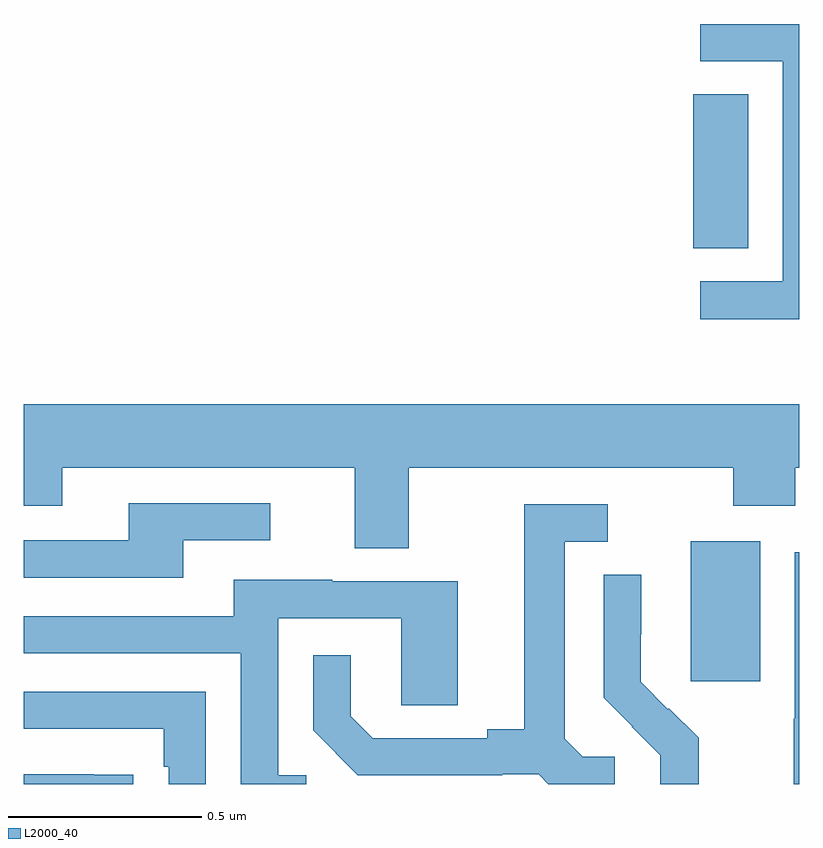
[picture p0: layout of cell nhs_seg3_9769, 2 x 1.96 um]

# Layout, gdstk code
import gdstk
lib = gdstk.Library(unit=1e-6, precision=1e-09)
def R(c, l, rs):  # rectangles x0, y0, x1, y1
    for r in rs: c.add(gdstk.rectangle(r[:2], r[2:], *l))
def P(c, l, *ps):  # polygons
    for p in ps: c.add(gdstk.Polygon(p, *l))
L2000_40 = (2000, 40)

nhs_seg3_9769 = lib.new_cell('nhs_seg3_9769')
R(nhs_seg3_9769, L2000_40, [(233.72,733.665,233.899,734.026), (233.726,734.782,233.869,735.179)])
P(nhs_seg3_9769, L2000_40, [(234,735.36),(233.745,735.36),(233.745,735.264),(233.958,735.264),(233.958,734.697),(233.745,734.697),(233.745,734.599),(234,734.599)],
  [(232.993,734.216),(233.83,734.216),(233.83,734.117),(233.99,734.117),(233.99,734.216),(234,734.216),(234,734.38),(232,734.38),(232,734.117),(232.099,734.117),(232.099,734.216),(232.853,734.216),(232.853,734.008),(232.993,734.008)],
  [(232.411,734.028),(232.636,734.028),(232.636,734.124),(232.271,734.124),(232.271,734.028),(232,734.028),(232,733.932),(232.411,733.932)],
  [(233.524,733.47),(233.442,733.47),(233.395,733.517),(233.395,734.025),(233.506,734.025),(233.506,734.121),(233.291,734.121),(233.291,733.541),(233.195,733.541),(233.195,733.518),(232.9,733.518),(232.843,733.575),(232.843,733.732),(232.746,733.732),(232.746,733.538),(232.862,733.422),(233.234,733.422),(233.234,733.425),(233.328,733.425),(233.353,733.4),(233.524,733.4)],
  [(234,733.998),(233.988,733.998),(233.988,733.568),(233.986,733.568),(233.986,733.4),(234,733.4)],
  [(233.741,733.519),(233.664,733.596),(233.661,733.593),(233.591,733.664),(233.591,733.786),(233.592,733.786),(233.592,733.94),(233.496,733.94),(233.496,733.622),(233.569,733.549),(233.568,733.548),(233.642,733.474),(233.642,733.4),(233.741,733.4)],
  [(232.729,733.422),(232.656,733.422),(232.656,733.827),(232.974,733.827),(232.974,733.603),(233.119,733.603),(233.119,733.923),(232.795,733.923),(232.795,733.927),(232.541,733.927),(232.541,733.833),(232,733.833),(232,733.737),(232.56,733.737),(232.56,733.4),(232.729,733.4)],
  [(232.47,733.638),(232,733.638),(232,733.542),(232.361,733.542),(232.361,733.445),(232.374,733.445),(232.374,733.4),(232.47,733.4)],
  [(232.283,733.424),(232.181,733.424),(232.181,733.425),(232,733.425),(232,733.4),(232.283,733.4)])

lib.write_gds('nhs_seg3_9769.gds')
